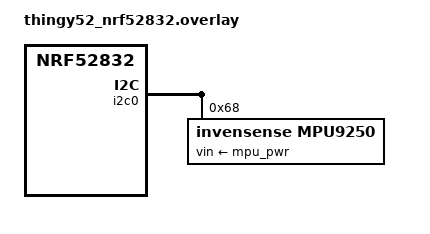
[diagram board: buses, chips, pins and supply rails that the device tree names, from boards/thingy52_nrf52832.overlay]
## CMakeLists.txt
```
# SPDX-License-Identifier: Apache-2.0

cmake_minimum_required(VERSION 3.20.0)
find_package(Zephyr REQUIRED HINTS $ENV{ZEPHYR_BASE})
project(wsu)

zephyr_library_sources(boards/board.c)

FILE(GLOB app_sources src/*.c)
target_sources(app PRIVATE ${app_sources})
```

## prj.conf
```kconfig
# Debug shell and logging for WSU
CONFIG_SHELL=y
CONFIG_SHELL_BACKEND_RTT=y
CONFIG_SHELL_LOG_BACKEND=y
CONFIG_LOG=y
CONFIG_LOG_CMDS=y
CONFIG_LOG_RUNTIME_FILTERING=y

# Sensors
CONFIG_GPIO=y
CONFIG_I2C=y
CONFIG_SENSOR=y

# MPU9250
CONFIG_MPU9250=y
CONFIG_MPU9250_MAGN_EN=y
CONFIG_MPU9250_TRIGGER_NONE=y
CONFIG_CBPRINTF_FP_SUPPORT=y

# Bluetooth
CONFIG_BT=y
CONFIG_BT_BROADCASTER=y
#CONFIG_BT_EXT_ADV=y
# Note we need WSU_BLE_MAX_ADV +1 here to avoid BT_LE_ADV_OPT_USE_IDENTITY bug
#CONFIG_BT_EXT_ADV_MAX_ADV_SET=4
```

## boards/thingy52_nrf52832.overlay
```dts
&i2c0 {
    mpu9250: mpu9250@68 {
		compatible = "invensense,mpu9250";
		reg = <0x68>;
		vin-supply = <&mpu_pwr>;
    gyro-sr-div = <20>;
    gyro-fs = <250>;      // Full-scale +/- rads/s
    gyro-dlpf = <10>;     // Cutoff at 10 Hz
    accel-fs = <4>;       // Full-scale +/- 4g
    accel-dlpf = "10.2";  // Cutoff 10.2 Hz
	};
};
```

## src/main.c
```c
/*
 * Basic main to enable the lightwell LED. Hard to know if the device is on or
 * off otherwise.
 */
#include <zephyr/kernel.h>
#include <zephyr/drivers/gpio.h>

#define LED0_NODE DT_ALIAS(led0)
static const struct gpio_dt_spec led = GPIO_DT_SPEC_GET(LED0_NODE, gpios);

int main(void)
{
	int ret;

	if (!gpio_is_ready_dt(&led)) {
		return 0;
	}

	ret = gpio_pin_configure_dt(&led, GPIO_OUTPUT_ACTIVE);
	if (ret < 0) {
		return 0;
	}

	return 0;
}
```

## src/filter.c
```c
/**
 * @file filter.c
 * @brief Implementation of Madgwick sensor fusion filter
 *
 * This file contains the implements the Madgwick sensor fusion
 * filter. The filter is adapted from kriswiner's MPU9250 driver on Github.
 *
 * @author Sam Kwort
 * @date 28/04/2024
 *
 * @see https://github.com/kriswiner/MPU9250/blob/master/quaternionFilters.ino
 */

#include <math.h>

void MadgwickQuaternionUpdate(float *q, float deltat, float beta, float zeta,
                              float ax, float ay, float az,
                              float gx, float gy, float gz,
                              float mx, float my, float mz)
{

    float q1 = q[0], q2 = q[1], q3 = q[2], q4 = q[3];   // short name local variable for readability
    float norm;
    float hx, hy, _2bx, _2bz;
    float s1, s2, s3, s4;
    float qDot1, qDot2, qDot3, qDot4;

    // Auxiliary variables to avoid repeated arithmetic
    float _2q1mx;
    float _2q1my;
    float _2q1mz;
    float _2q2mx;
    float _4bx;
    float _4bz;
    float _2q1 = 2.0f * q1;
    float _2q2 = 2.0f * q2;
    float _2q3 = 2.0f * q3;
    float _2q4 = 2.0f * q4;
    float _2q1q3 = 2.0f * q1 * q3;
    float _2q3q4 = 2.0f * q3 * q4;
    float q1q1 = q1 * q1;
    float q1q2 = q1 * q2;
    float q1q3 = q1 * q3;
    float q1q4 = q1 * q4;
    float q2q2 = q2 * q2;
    float q2q3 = q2 * q3;
    float q2q4 = q2 * q4;
    float q3q3 = q3 * q3;
    float q3q4 = q3 * q4;
    float q4q4 = q4 * q4;

    // Normalise accelerometer measurement
    norm = sqrtf(ax * ax + ay * ay + az * az);
    if (norm == 0.0f) return; // handle NaN
    norm = 1.0f/norm;
    ax *= norm;
    ay *= norm;
    az *= norm;

    // Normalise magnetometer measurement
    norm = sqrtf(mx * mx + my * my + mz * mz);
    if (norm == 0.0f) return; // handle NaN
    norm = 1.0f/norm;
    mx *= norm;
    my *= norm;
    mz *= norm;

    // Reference direction of Earth's magnetic field
    _2q1mx = 2.0f * q1 * mx;
    _2q1my = 2.0f * q1 * my;
    _2q1mz = 2.0f * q1 * mz;
    _2q2mx = 2.0f * q2 * mx;
    hx = mx * q1q1 - _2q1my * q4 + _2q1mz * q3 + mx * q2q2 + _2q2 * my * q3 + _2q2 * mz * q4 - mx * q3q3 - mx * q4q4;
    hy = _2q1mx * q4 + my * q1q1 - _2q1mz * q2 + _2q2mx * q3 - my * q2q2 + my * q3q3 + _2q3 * mz * q4 - my * q4q4;
    _2bx = sqrtf(hx * hx + hy * hy);
    _2bz = -_2q1mx * q3 + _2q1my * q2 + mz * q1q1 + _2q2mx * q4 - mz * q2q2 + _2q3 * my * q4 - mz * q3q3 + mz * q4q4;
    _4bx = 2.0f * _2bx;
    _4bz = 2.0f * _2bz;

    // Gradient decent algorithm corrective step
    s1 = -_2q3 * (2.0f * q2q4 - _2q1q3 - ax) + _2q2 * (2.0f * q1q2 + _2q3q4 - ay) - _2bz * q3 * (_2bx * (0.5f - q3q3 - q4q4) + _2bz * (q2q4 - q1q3) - mx) + (-_2bx * q4 + _2bz * q2) * (_2bx * (q2q3 - q1q4) + _2bz * (q1q2 + q3q4) - my) + _2bx * q3 * (_2bx * (q1q3 + q2q4) + _2bz * (0.5f - q2q2 - q3q3) - mz);
    s2 = _2q4 * (2.0f * q2q4 - _2q1q3 - ax) + _2q1 * (2.0f * q1q2 + _2q3q4 - ay) - 4.0f * q2 * (1.0f - 2.0f * q2q2 - 2.0f * q3q3 - az) + _2bz * q4 * (_2bx * (0.5f - q3q3 - q4q4) + _2bz * (q2q4 - q1q3) - mx) + (_2bx * q3 + _2bz * q1) * (_2bx * (q2q3 - q1q4) + _2bz * (q1q2 + q3q4) - my) + (_2bx * q4 - _4bz * q2) * (_2bx * (q1q3 + q2q4) + _2bz * (0.5f - q2q2 - q3q3) - mz);
    s3 = -_2q1 * (2.0f * q2q4 - _2q1q3 - ax) + _2q4 * (2.0f * q1q2 + _2q3q4 - ay) - 4.0f * q3 * (1.0f - 2.0f * q2q2 - 2.0f * q3q3 - az) + (-_4bx * q3 - _2bz * q1) * (_2bx * (0.5f - q3q3 - q4q4) + _2bz * (q2q4 - q1q3) - mx) + (_2bx * q2 + _2bz * q4) * (_2bx * (q2q3 - q1q4) + _2bz * (q1q2 + q3q4) - my) + (_2bx * q1 - _4bz * q3) * (_2bx * (q1q3 + q2q4) + _2bz * (0.5f - q2q2 - q3q3) - mz);
    s4 = _2q2 * (2.0f * q2q4 - _2q1q3 - ax) + _2q3 * (2.0f * q1q2 + _2q3q4 - ay) + (-_4bx * q4 + _2bz * q2) * (_2bx * (0.5f - q3q3 - q4q4) + _2bz * (q2q4 - q1q3) - mx) + (-_2bx * q1 + _2bz * q3) * (_2bx * (q2q3 - q1q4) + _2bz * (q1q2 + q3q4) - my) + _2bx * q2 * (_2bx * (q1q3 + q2q4) + _2bz * (0.5f - q2q2 - q3q3) - mz);
    norm = sqrtf(s1 * s1 + s2 * s2 + s3 * s3 + s4 * s4);    // normalise step magnitude
    norm = 1.0f/norm;
    s1 *= norm;
    s2 *= norm;
    s3 *= norm;
    s4 *= norm;

    // Compute rate of change of quaternion
    qDot1 = 0.5f * (-q2 * gx - q3 * gy - q4 * gz) - beta * s1;
    qDot2 = 0.5f * (q1 * gx + q3 * gz - q4 * gy) - beta * s2;
    qDot3 = 0.5f * (q1 * gy - q2 * gz + q4 * gx) - beta * s3;
    qDot4 = 0.5f * (q1 * gz + q2 * gy - q3 * gx) - beta * s4;

    // Integrate to yield quaternion
    q1 += qDot1 * deltat;
    q2 += qDot2 * deltat;
    q3 += qDot3 * deltat;
    q4 += qDot4 * deltat;
    norm = sqrtf(q1 * q1 + q2 * q2 + q3 * q3 + q4 * q4);    // normalise quaternion
    norm = 1.0f/norm;
    q[0] = q1 * norm;
    q[1] = q2 * norm;
    q[2] = q3 * norm;
    q[3] = q4 * norm;
}
```

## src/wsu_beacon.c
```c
/* Only include this code if we are using the standard implementation */
#ifndef CONFIG_BT_EXT_ADV

#include <stdio.h>
#include <zephyr/drivers/gpio.h>
#include <zephyr/kernel.h>
#include <zephyr/logging/log.h>
#include <zephyr/bluetooth/bluetooth.h>

#include "wsu_msg_api.h"
#include "zephyr/bluetooth/gap.h"

LOG_MODULE_REGISTER(wsu_beacon_module, LOG_LEVEL_INF);

/* Thread parameters */
#define T_BEACON_STACKSIZE 1024
#define T_BEACON_PRIORITY  7

/* BLE parameters */
#define WSU_BEACON_RSSI 0xc8

/* Indexes into the ad and bt_data structs */
#define WSU_BT_DATA_MANU_DATA_IDX    1
#define WSU_BT_DATA_SEQ_START_IDX   10
#define WSU_BT_DATA_PITCH_START_IDX 12
#define WSU_BT_DATA_ROLL_START_IDX  16
#define WSU_BT_DATA_YAW_START_IDX   20

/* LED node */
#define LED0_NODE DT_ALIAS(led0)
static const struct gpio_dt_spec led = GPIO_DT_SPEC_GET(LED0_NODE, gpios);

/* Define bt_data structs for each advertisement */
static struct bt_data wsu_data_ad[] = {
    BT_DATA_BYTES(BT_DATA_FLAGS, BT_LE_AD_NO_BREDR),
    BT_DATA_BYTES(BT_DATA_MANUFACTURER_DATA, 0x4c, 0x00, /* Apple */
                  0x02, 0x15,                                /* iBeacon */
                  0x18, 0xee,                              /* UUID*/
                  0x15, 0x16,                              /* UUID[15..12] */
                  0x01, 0x6b,                              /* UUID[2..0] */
                  0x4b, 0xec,                            /* Sequence */
                  0xad, 0x96,                            /* Pitch Upper */
                  0xbc, 0xb9,                            /* Pitch Lower */
                  0x6d, 0x99,                            /* Roll Upper */
                  0x00, 0x00,                            /* Roll Lower  */
                  0x00, 0x00,                            /* Yaw Upper   */
                  0x00, 0x00,                            /* Yaw Lower  */
                  WSU_BEACON_RSSI) /* Calibrated RSSI @ 1m */
};

/* Set the advertising parameters, ensuring fixed MAC identity */
static const struct bt_le_adv_param wsu_adv_param = {
    .id = BT_ID_DEFAULT,
    .sid = 0U,
    .secondary_max_skip = 0U,
    .options = BT_LE_ADV_OPT_USE_IDENTITY,
    .interval_min = BT_GAP_ADV_FAST_INT_MIN_2,
    .interval_max = BT_GAP_ADV_FAST_INT_MAX_2,
    .peer = NULL,
};

/*
 * The method used to load the data into the bt_data ad is sort of dirty. It
 * involves casting the struct bt_data::data member (a const variable) to a
 * non-const variable. This is fine here as the const member does not occupy
 * read-only memory, but it seems like a shortcoming in the API.
 */
bool wsu_update_bt_adv_data(float *msg)
{
    uint8_t *bt_ad;

    /* Type-pun the msg */
    union {
        uint32_t  u;
        float     f;
    } m;

    /* Update the BLE ad data */
    bt_ad = (uint8_t *)wsu_data_ad[WSU_BT_DATA_MANU_DATA_IDX].data;
    m.f = msg[0];
    bt_ad[WSU_BT_DATA_PITCH_START_IDX + 0] = (m.u >> 24) & 0xFF;
    bt_ad[WSU_BT_DATA_PITCH_START_IDX + 1] = (m.u >> 16) & 0xFF;
    bt_ad[WSU_BT_DATA_PITCH_START_IDX + 2] = (m.u >> 8) & 0xFF;
    bt_ad[WSU_BT_DATA_PITCH_START_IDX + 3] = m.u & 0xFF;
    m.f = msg[1];
    bt_ad[WSU_BT_DATA_ROLL_START_IDX + 0] = (m.u >> 24) & 0xFF;
    bt_ad[WSU_BT_DATA_ROLL_START_IDX + 1] = (m.u >> 16) & 0xFF;
    bt_ad[WSU_BT_DATA_ROLL_START_IDX + 2] = (m.u >> 8) & 0xFF;
    bt_ad[WSU_BT_DATA_ROLL_START_IDX + 3] = m.u & 0xFF;
    m.f = msg[2];
    bt_ad[WSU_BT_DATA_YAW_START_IDX + 0] = (m.u >> 24) & 0xFF;
    bt_ad[WSU_BT_DATA_YAW_START_IDX + 1] = (m.u >> 16) & 0xFF;
    bt_ad[WSU_BT_DATA_YAW_START_IDX + 2] = (m.u >> 8) & 0xFF;
    bt_ad[WSU_BT_DATA_YAW_START_IDX + 3] = m.u & 0xFF;

    int err = bt_le_adv_update_data(wsu_data_ad, ARRAY_SIZE(wsu_data_ad), NULL, 0);
    if (err) {
        return false;
    }

    return true;
}

bool wsu_start_bt_broadcast(void)
{
    int err;

    /* Initialize the Bluetooth Subsystem */
    err = bt_enable(NULL);
    if (err) {
        LOG_ERR("Bluetooth init failed (err %d)\n", err);
        return false;
    }

    /* Start advertising */
    err = bt_le_adv_start(&wsu_adv_param,
                          wsu_data_ad,
                          ARRAY_SIZE(wsu_data_ad),
                          NULL, 0);
    if (err) {
        printk("Advertising failed to start (err %d)\n", err);
        return 0;
    }
    return true;
}

/* Initialisation function for the beacon thread */
bool wsu_beacon_init()
{

    /* Initialise the LED */
    if (!gpio_is_ready_dt(&led)) {
        return false;
    }

    int ret = gpio_pin_configure_dt(&led, GPIO_OUTPUT_ACTIVE);
    if (ret < 0) {
        return false;
    }

    /* Initialise bluetooth broadcast */
    if (!wsu_start_bt_broadcast()) {
        LOG_ERR("Failed to start BT broadcast.");
        return false;
    }

    return true;
}

/*
 * Beacon thread for transmitting sensor data over BLE
 */
void wsu_beacon_thread(void)
{
    LOG_INF("Initialising WSU Beacon.");
    if (!wsu_beacon_init()) {
        LOG_INF("Initialisation failed.");
        return;
    }

    LOG_INF("Initialisation successful.");

    float msg[3];

    while (1) {
        /* Wait for a wsu message, then process it */
        wsu_msg_recv(msg, K_FOREVER);

        printk("\np=%f r=%f y=%f", (double)msg[0], (double)msg[1], (double)msg[2]);

        /* Update BLE Advertisment */
        if (!wsu_update_bt_adv_data(msg)) {
            LOG_ERR("Error updating bt adv data. Stopping.");
            break;
        }

        k_sleep(K_MSEC(5));
    }
}

K_THREAD_DEFINE(wsu_beacon, T_BEACON_STACKSIZE, wsu_beacon_thread, NULL, NULL,
                NULL, T_BEACON_PRIORITY, 0, 0);

#endif
```

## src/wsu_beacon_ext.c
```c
#include <stdio.h>
#include <zephyr/drivers/gpio.h>
#include <zephyr/kernel.h>
#include <zephyr/logging/log.h>
#include <zephyr/bluetooth/bluetooth.h>

#include "wsu_msg_api.h"
#include "zephyr/bluetooth/gap.h"

LOG_MODULE_REGISTER(wsu_beacon_module, LOG_LEVEL_INF);

/* Thread parameters */
#define T_BEACON_STACKSIZE 1024
#define T_BEACON_PRIORITY  7

/* BLE parameters */
#define WSU_BLE_MAX_ADV 3
#define WSU_BEACON_RSSI 0xc8

/* Indexes into the ad and bt_data structs */
#define WSU_PITCH_AD_IDX            0
#define WSU_ROLL_AD_IDX             1
#define WSU_YAW_AD_IDX              2
#define WSU_BT_DATA_MANU_DATA_IDX   1
#define WSU_BT_DATA_MAJOR_START_IDX 20

/* LED node */
#define LED0_NODE DT_ALIAS(led0)
static const struct gpio_dt_spec led = GPIO_DT_SPEC_GET(LED0_NODE, gpios);

/* Define bt_data structs for each advertisement */
static struct bt_data wsu_pitch[] = {
    BT_DATA_BYTES(BT_DATA_FLAGS, BT_LE_AD_NO_BREDR),
    BT_DATA_BYTES(BT_DATA_MANUFACTURER_DATA, 0x4c, 0x00, /* Apple */
                  0x02, 0x15,                            /* iBeacon */
                  0x18, 0xee, 0x15, 0x16,                /* UUID[15..12] */
                  0x01, 0x6b,                            /* UUID[11..10] */
                  0x4b, 0xec,                            /* UUID[9..8] */
                  0xad, 0x96,                            /* UUID[7..6] */
                  0xbc, 0xb9, 0x6d, 0x99, 0x99, 0x01,    /* UUID[5..0] */
                  0x00, 0x00,                            /* Major */
                  0x00, 0x00,                            /* Minor */
                  WSU_BEACON_RSSI) /* Calibrated RSSI @ 1m */
};

static struct bt_data wsu_roll[] = {
    BT_DATA_BYTES(BT_DATA_FLAGS, BT_LE_AD_NO_BREDR),
    BT_DATA_BYTES(BT_DATA_MANUFACTURER_DATA, 0x4c, 0x00, /* Apple */
                  0x02, 0x15,                            /* iBeacon */
                  0x18, 0xee, 0x15, 0x16,                /* UUID[15..12] */
                  0x01, 0x6b,                            /* UUID[11..10] */
                  0x4b, 0xec,                            /* UUID[9..8] */
                  0xad, 0x96,                            /* UUID[7..6] */
                  0xbc, 0xb9, 0x6d, 0x99, 0x99, 0x02,    /* UUID[5..0] */
                  0x00, 0x00,                            /* Major */
                  0x00, 0x00,                            /* Minor */
                  WSU_BEACON_RSSI) /* Calibrated RSSI @ 1m */
};

static struct bt_data wsu_yaw[] = {
    BT_DATA_BYTES(BT_DATA_FLAGS, BT_LE_AD_NO_BREDR),
    BT_DATA_BYTES(BT_DATA_MANUFACTURER_DATA, 0x4c, 0x00, /* Apple */
                  0x02, 0x15,                            /* iBeacon */
                  0x18, 0xee, 0x15, 0x16,                /* UUID[15..12] */
                  0x01, 0x6b,                            /* UUID[11..10] */
                  0x4b, 0xec,                            /* UUID[9..8] */
                  0xad, 0x96,                            /* UUID[7..6] */
                  0xbc, 0xb9, 0x6d, 0x99, 0x99, 0x03,    /* UUID[5..0] */
                  0x00, 0x00,                            /* Major */
                  0x00, 0x00,                            /* Minor */
                  WSU_BEACON_RSSI) /* Calibrated RSSI @ 1m */
};


/* Array of BLE Ext Ads */
static struct bt_data *ad[] = {
    wsu_pitch,
    wsu_roll,
    wsu_yaw,
};

static struct bt_le_ext_adv *adv[WSU_BLE_MAX_ADV];

/*
 * The method used to load the data into the bt_data ads is sort of dirty. It
 * involves casting the struct bt_data::data member (a const variable) to a
 * non-const variable. This is fine here as the const member does not occupy
 * read-only memory, but it seems like a short-coming in the API.
 */
void wsu_update_bt_adv_data(float *msg)
{
    uint8_t *bt_ad;

    /* Type-pun the msg */
    union {
        uint32_t  u;
        float     f;
    } m;

    /* Load the packet into the bt_data struct for broadcast. */
    bt_ad = (uint8_t *)wsu_pitch[WSU_BT_DATA_MANU_DATA_IDX].data;
    m.f = msg[0];
    bt_ad[WSU_BT_DATA_MAJOR_START_IDX + 0] = (m.u >> 24) & 0xFF;
    bt_ad[WSU_BT_DATA_MAJOR_START_IDX + 1] = (m.u >> 16) & 0xFF;
    bt_ad[WSU_BT_DATA_MAJOR_START_IDX + 2] = (m.u >> 8) & 0xFF;
    bt_ad[WSU_BT_DATA_MAJOR_START_IDX + 3] = m.u & 0xFF;

    /* Reload the updated ad data inside the BLE driver */
    bt_le_ext_adv_set_data(adv[WSU_PITCH_AD_IDX], wsu_pitch,
                            ARRAY_SIZE(wsu_pitch), NULL, 0);

    LOG_INF("Updated bt_adv_data for pitch");

    /* Repeat for roll data */
    bt_ad = (uint8_t *)wsu_roll[WSU_BT_DATA_MANU_DATA_IDX].data;
    m.f = msg[1];
    bt_ad[WSU_BT_DATA_MAJOR_START_IDX + 0] = (m.u >> 24) & 0xFF;
    bt_ad[WSU_BT_DATA_MAJOR_START_IDX + 1] = (m.u >> 16) & 0xFF;
    bt_ad[WSU_BT_DATA_MAJOR_START_IDX + 2] = (m.u >> 8) & 0xFF;
    bt_ad[WSU_BT_DATA_MAJOR_START_IDX + 3] = m.u & 0xFF;

    bt_le_ext_adv_set_data(adv[WSU_ROLL_AD_IDX], wsu_roll,
                            ARRAY_SIZE(wsu_roll), NULL, 0);

    LOG_INF("Updated bt_adv_data for roll");

    /* Repeat for yaw data */
    bt_ad = (uint8_t *)wsu_yaw[WSU_BT_DATA_MANU_DATA_IDX].data;
    m.f = msg[2];
    bt_ad[WSU_BT_DATA_MAJOR_START_IDX + 0] = (m.u >> 24) & 0xFF;
    bt_ad[WSU_BT_DATA_MAJOR_START_IDX + 1] = (m.u >> 16) & 0xFF;
    bt_ad[WSU_BT_DATA_MAJOR_START_IDX + 2] = (m.u >> 8) & 0xFF;
    bt_ad[WSU_BT_DATA_MAJOR_START_IDX + 3] = m.u & 0xFF;

    bt_le_ext_adv_set_data(adv[WSU_YAW_AD_IDX], wsu_yaw,
                            ARRAY_SIZE(wsu_yaw), NULL, 0);

    LOG_INF("Updated bt_adv_data for yaw");

    return;
}

bool wsu_start_bt_broadcast(void)
{
    /* Set the advertising parameters, ensuring fixed MAC identity */
    struct bt_le_adv_param adv_param = {
        .id = BT_ID_DEFAULT,
        .sid = 0U,
        .secondary_max_skip = 0U,
        .options = BT_LE_ADV_OPT_EXT_ADV | BT_LE_ADV_OPT_USE_IDENTITY,
        .interval_min = BT_GAP_ADV_FAST_INT_MIN_2,
        .interval_max = BT_GAP_ADV_FAST_INT_MAX_2,
        .peer = NULL,
    };
    int err;

    /* Initialize the Bluetooth Subsystem */
    err = bt_enable(NULL);
    if (err) {
        LOG_ERR("Bluetooth init failed (err %d)\n", err);
        return false;
    }

    /* Create and start the BLE extended advertising set */
    for (int index = 0; index < WSU_BLE_MAX_ADV; index++) {
        /* Use advertising set instance index as SID */
        adv_param.sid = index;

        /* Create a non-connectable non-scannable advertising set */
        err = bt_le_ext_adv_create(&adv_param, NULL, &adv[index]);
        if (err) {
            LOG_ERR("Failed to create advertising set %d (err %d)\n", index,
                    err);
            return false;
        }

        /* Set extended advertising data - same length for each BLE packet */
        err = bt_le_ext_adv_set_data(adv[index], ad[index],
                                     ARRAY_SIZE(wsu_pitch), NULL, 0);
        if (err) {
            LOG_ERR("Failed to set advertising data for set %d "
                    "(err %d)\n",
                    index, err);
            return false;
        }

        /* Start extended advertising set */
        err = bt_le_ext_adv_start(adv[index], BT_LE_EXT_ADV_START_DEFAULT);
        if (err) {
            LOG_ERR("Failed to start extended advertising set %d "
                    "(err %d)\n",
                    index, err);
            return false;
        }

        LOG_INF("Started Extended Advertising Set %d.\n", index);
    }

    return true;
}

/* Initialisation function for the beacon thread */
bool wsu_beacon_init()
{

    /* Initialise the LED */
    if (!gpio_is_ready_dt(&led)) {
        return false;
    }

    int ret = gpio_pin_configure_dt(&led, GPIO_OUTPUT_ACTIVE);
    if (ret < 0) {
        return false;
    }

    /* Initialise bluetooth broadcast */
    if (!wsu_start_bt_broadcast()) {
        LOG_ERR("Failed to start BT broadcast.");
        return false;
    }

    return true;
}

/*
 * Beacon thread for transmitting sensor data over BLE
 */
void wsu_beacon_thread(void)
{
    LOG_INF("Initialising WSU Beacon.");
    if (!wsu_beacon_init()) {
        LOG_INF("Initialisation failed.");
        return;
    }

    LOG_INF("Initialisation successful.");

    float msg[3];

    while (1) {
        /* Wait for a wsu message, then process it */
        wsu_msg_recv(msg, K_FOREVER);

        printk("\np=%f r=%f y=%f", (double)msg[0], (double)msg[1], (double)msg[2]);

        /* Update BLE Advertisment */
        wsu_update_bt_adv_data(msg);

        k_sleep(K_MSEC(5));
    }
}

K_THREAD_DEFINE(wsu_beacon, T_BEACON_STACKSIZE, wsu_beacon_thread, NULL, NULL,
                NULL, T_BEACON_PRIORITY, 0, 0);
```

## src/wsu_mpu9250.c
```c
/**
 * @file wsu_mpu9250.c
 * @brief MPU9250 Data Capture Thread
 *
 * This file contains the data reading and data processing logic for generating
 * pitch, roll and yaw values using the Thingy52's IMU (MPU9250). Some of the
 * sensor data processing code is adapted from kriswiner's MPU9250 library.
 *
 * @author Sam Kwort
 * @date  28/04/2024
 *
 * @see https://github.com/kriswiner/MPU9250/tree/master
 */

#include "filter.h"
#include "wsu_msg_api.h"
#include <zephyr/kernel.h>
#include <zephyr/device.h>
#include <zephyr/drivers/sensor.h>
#include <zephyr/drivers/gpio.h>
#include <zephyr/logging/log.h>
#include <math.h>

/* Setup logging */
LOG_MODULE_REGISTER(wsu_mpu9250_module, LOG_LEVEL_ERR);

/* Thread parameters */
#define T_MPU9250_STACKSIZE 1024
#define T_MPU9250_PRIORITY  7

/* Devicetree nodes*/
#define LED0_NODE DT_ALIAS(led0)
static const struct gpio_dt_spec led = GPIO_DT_SPEC_GET(LED0_NODE, gpios);

#define SW0_NODE	DT_ALIAS(sw0)
static const struct gpio_dt_spec button = GPIO_DT_SPEC_GET_OR(SW0_NODE, gpios,
							      {0});
static struct gpio_callback button_cb_data;

/* Define calibration semaphore with no availability */
K_SEM_DEFINE(calibration_sem, 0, 1);

/* Sensor resolutions */
#define A_RES 1.0f/9.806650f  // Convert from m/s/s to g's
#define G_RES 1
#define M_RES 1000.0f         // Zephyr driver is in G, filter needs mG

/* Default soft and hard iron calibration values for magnetometer */
float mag_bias[3] = {0.425760f, -2.013490f, -9.738627f};
float mag_scale[3] = {1.570795f, 0.941597f, 0.768430f};

/* Filter error constants */
#define PI 3.14159265358979323846f
const float GYRO_MEAS_ERR    = PI * (40.0f / 180.0f);   //  error in rads/s
const float GYRO_MEAS_DRIFT  = PI * (0.0f  / 180.0f);   //  drift in rad/s/s

/* Declination for Brisbane is 11.12 degress. */
#define DECLINATION 11.12f


void button_pressed(const struct device *dev, struct gpio_callback *cb,
		    uint32_t pins)
{
    k_sem_give(&calibration_sem);
}

static void mpu9250_get_mag_sample(const struct device *dev, float *m)
{
	struct sensor_value mag[3];

    /* Fetch the sample */
    if (sensor_sample_fetch(dev) < 0) {
        LOG_ERR("Sensor sample update error");
        return;
    }

    /* Read the magnetometer */
    if (sensor_channel_get(dev, SENSOR_CHAN_MAGN_XYZ, mag) < 0) {
        LOG_ERR("Cannot read magnetometer");
        return;
    }

    /* Don't scale values here */
    m[0] = sensor_value_to_float(&mag[0]);
    m[1] = sensor_value_to_float(&mag[1]);
    m[2] = sensor_value_to_float(&mag[2]);
}

void mpu9250_mag_cal(const struct device *dev, float *bias_dest, float *scale_dest) 
{
    uint16_t ii = 0, sample_count = 0;
    float temp_scale[3] = {0, 0, 0};
    float mag_max[3] = {-20.0f, -20.0f, -20.0f};
    float mag_min[3] = {20.0f, 20.0f, 20.0f};
    float mag_temp[3] = {0, 0, 0};

    printk("Mag Calibration: Wave device in a figure eight until done!\n");
    k_sleep(K_MSEC(1000));
    printk("Staring\n");

    sample_count = 1500; 
    for(ii = 0; ii < sample_count; ii++) {
        /* Blink LED to indicate calibration*/
        if (ii % 2) {
            gpio_pin_configure_dt(&led, GPIO_OUTPUT_INACTIVE);
        } else {
            gpio_pin_configure_dt(&led, GPIO_OUTPUT_ACTIVE);
        }

        /* Get magnetometer sample */
        mpu9250_get_mag_sample(dev, mag_temp);

        for (int jj = 0; jj < 3; jj++) {
            if(mag_temp[jj] > mag_max[jj]) mag_max[jj] = mag_temp[jj];
            if(mag_temp[jj] < mag_min[jj]) mag_min[jj] = mag_temp[jj];
        }
        k_sleep(K_MSEC(20));
    }

    // Get hard iron correction
    bias_dest[0] = (mag_max[0] + mag_min[0]) / 2;  // avg. x mag bias
    bias_dest[1] = (mag_max[1] + mag_min[1]) / 2;  // avg. y mag bias
    bias_dest[2] = (mag_max[2] + mag_min[2]) / 2;  // avg. z mag bias 

    // Get soft iron correction estimate
    temp_scale[0] = (mag_max[0] - mag_min[0]) / 2;  // avg. x max chord length
    temp_scale[1] = (mag_max[1] - mag_min[1]) / 2;  // avg. y max chord length
    temp_scale[2] = (mag_max[2] - mag_min[2]) / 2;  // avg. z max chord length

    float avg_rad = (temp_scale[0] + temp_scale[1] + temp_scale[2]) / 3.0f;

    scale_dest[0] = avg_rad / temp_scale[0];
    scale_dest[1] = avg_rad / temp_scale[1];
    scale_dest[2] = avg_rad / temp_scale[2];

    /* Turn LED back on */
    gpio_pin_configure_dt(&led, GPIO_OUTPUT_ACTIVE);
    LOG_INF("Calibration done.");

    LOG_INF("  bias: %f, %f, %f", (double)bias_dest[0],
                                       (double)bias_dest[1],
                                       (double)bias_dest[2]);
    LOG_INF("  scale: %f, %f, %f", (double)scale_dest[0],
                                        (double)scale_dest[1],
                                        (double)scale_dest[2]);

    k_sleep(K_MSEC(1000));
}

/* Process and send the sensor sample to the beacon */
static void mpu9250_process_sample(const struct device *dev, float *a, float *g, float *m)
{
    struct sensor_value accel[3];
	struct sensor_value gyro[3];
	struct sensor_value mag[3];

    /* Fetch the sample */
    if (sensor_sample_fetch(dev) < 0) {
        LOG_ERR("Sensor sample update error");
        return;
    }

    /* Read the accelerometer */
    if (sensor_channel_get(dev, SENSOR_CHAN_ACCEL_XYZ, accel) < 0) {
        LOG_ERR("Cannot read accelerometer");
        return;
    }

    /* Read the gyroscope */
    if (sensor_channel_get(dev, SENSOR_CHAN_GYRO_XYZ, gyro) < 0) {
        LOG_ERR("Cannot read gyroscope");
        return;
    }

    /* Read the magnetometer */
    if (sensor_channel_get(dev, SENSOR_CHAN_MAGN_XYZ, mag) < 0) {
        LOG_ERR("Cannot read magnetometer");
        return;
    }

    a[0] = sensor_value_to_float(&accel[0]) * A_RES;
    a[1] = sensor_value_to_float(&accel[1]) * A_RES;
    a[2] = sensor_value_to_float(&accel[2]) * A_RES;

    g[0] = sensor_value_to_float(&gyro[0]) * G_RES;
    g[1] = sensor_value_to_float(&gyro[1]) * G_RES;
    g[2] = sensor_value_to_float(&gyro[2]) * G_RES;

    m[0] = (sensor_value_to_float(&mag[0]) - mag_bias[0]) * M_RES * mag_scale[0];
    m[1] = (sensor_value_to_float(&mag[1]) - mag_bias[1]) * M_RES * mag_scale[1];
    m[2] = (sensor_value_to_float(&mag[2]) - mag_bias[2]) * M_RES * mag_scale[2];

    LOG_INF("\nacc  %f %f %f G", (double)a[0], (double)a[1], (double)a[2]);
    LOG_INF("\ngyro  %f %f %f rad/s", (double)g[0], (double)g[1], (double)g[2]);
    LOG_INF("\nmag  %f %f %f mG", (double)m[0], (double)m[1], (double)m[2]);

}

int init_button(void)
{
	int ret;

	if (!gpio_is_ready_dt(&button)) {
		LOG_ERR("Error: button device %s is not ready\n",
		       button.port->name);
		return 1;
	}

	ret = gpio_pin_configure_dt(&button, GPIO_INPUT);
	if (ret != 0) {
		LOG_ERR("Error %d: failed to configure %s pin %d\n",
		       ret, button.port->name, button.pin);
		return 1;
	}

	ret = gpio_pin_interrupt_configure_dt(&button,
					      GPIO_INT_EDGE_TO_ACTIVE);
	if (ret != 0) {
		LOG_ERR("Error %d: failed to configure interrupt on %s pin %d\n",
			ret, button.port->name, button.pin);
		return 1;
	}

	gpio_init_callback(&button_cb_data, button_pressed, BIT(button.pin));
	gpio_add_callback(button.port, &button_cb_data);
	LOG_INF("Set up button at %s pin %d\n", button.port->name, button.pin);

    return 0;
}

/*
 * Data capture thread for MPU9250
 */
void wsu_mpu9250_thread(void)
{
    const struct device *const mpu9250 = DEVICE_DT_GET_ONE(invensense_mpu9250);

    if (!device_is_ready(mpu9250)) {
        LOG_ERR("device is not ready");
        return;
    }

    /* Init button for calibration */
    if (init_button()) {
        LOG_ERR("Failed to init button.");
        return;
    }

    /* Setup Madgwick filter variables */
    float beta = sqrtf(3.0f / 4.0f) * GYRO_MEAS_ERR; 
    float zeta = sqrtf(3.0f / 4.0f) * GYRO_MEAS_DRIFT;

    /* Time tracking variables */
    uint64_t now = 0;
    uint64_t last_update = 0;
    float time_delta = 0;

    /* Sensor values */
    float accel[3] = {0.0f, 0.0f, 0.0f};
    float gyro[3] = {0.0f, 0.0f, 0.0f};
    float mag[3] = {0.0f, 0.0f, 0.0f};

    /* Quarternion */
    float q[4] = {1.0f, 0.0f, 0.0f, 0.0f};

    /* Sensor fusion variables */
    float pitch = 0.0f;
    float roll = 0.0f;
    float yaw = 0.0f;
    float heading = 0.0f;

    while (true) {

        /* Try and take calibration semaphore */
        if (k_sem_take(&calibration_sem, K_NO_WAIT) == 0) {
            mpu9250_mag_cal(mpu9250, mag_bias, mag_scale);
        }

        /* Get the sample and and update filter */
        now = k_uptime_get();
        time_delta = ((now - last_update) / 1000.0f);
        mpu9250_process_sample(mpu9250, accel, gyro, mag);

        MadgwickQuaternionUpdate(q, time_delta, beta, zeta,
                                 accel[0], accel[1], accel[2],
                                 gyro[0], gyro[1], gyro[2],
                                 mag[0], mag[1], mag[2]);

        last_update = now;
        LOG_INF("\nq: %f %f %f %f", (double)q[0], (double)q[1], (double)q[2], (double)q[3]);

        /* Convert quartenion to pitch, roll and yaw */
        yaw   = atan2f(2.0f * (q[1] * q[2] + q[0] * q[3]), q[0] * q[0] + q[1] * q[1] - q[2] * q[2] - q[3] * q[3]);   
        pitch = -asinf(2.0f * (q[1] * q[3] - q[0] * q[2]));
        roll  = atan2f(2.0f * (q[0] * q[1] + q[2] * q[3]), q[0] * q[0] - q[1] * q[1] - q[2] * q[2] + q[3] * q[3]);
        pitch *= 180.0f / PI;
        yaw   *= 180.0f / PI; 
        yaw   += DECLINATION;
        roll  *= 180.0f / PI;

        /* Convert yaw to 360 degree heading */
        heading = (yaw < 0) ? yaw + 360.0f : yaw;

        // printk("\np=%f r=%f y=%f", (double)pitch, (double)roll, (double)heading);

        /* Send the message to the beacon thread */
        float msg[3];
        msg[0] = pitch;
        msg[1] = roll;
        msg[2] = heading;
        wsu_msg_send(msg, K_NO_WAIT);

        k_sleep(K_MSEC(15));
    }
    return;
}

K_THREAD_DEFINE(wsu_mpu9250, T_MPU9250_STACKSIZE, wsu_mpu9250_thread, NULL,
                NULL, NULL, T_MPU9250_PRIORITY, 0, 0);
```

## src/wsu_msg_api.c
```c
#include "wsu_msg_api.h"
#include <zephyr/kernel.h>

/* Define the message queue */
K_MSGQ_DEFINE(wsu_msgq, sizeof(float) * 3, 10, 1);

/* Send a message via the messsage queue */
extern void wsu_msg_send(float *msg, k_timeout_t timeout)
{
    k_msgq_put(&wsu_msgq, msg, timeout);
}

/* Receive a message from the message queue */
extern void wsu_msg_recv(float *msg, k_timeout_t timeout)
{
    k_msgq_get(&wsu_msgq, msg, timeout);
}
```

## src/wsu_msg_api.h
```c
#ifndef WSU_MSG_H
#define WSU_MSG_H

#include <sys/_stdint.h>
#include <zephyr/kernel.h>

/* Prototypes */
extern void wsu_msg_send(float *msg, k_timeout_t timeout);
extern void wsu_msg_recv(float *msg, k_timeout_t timeout);

#endif
```
